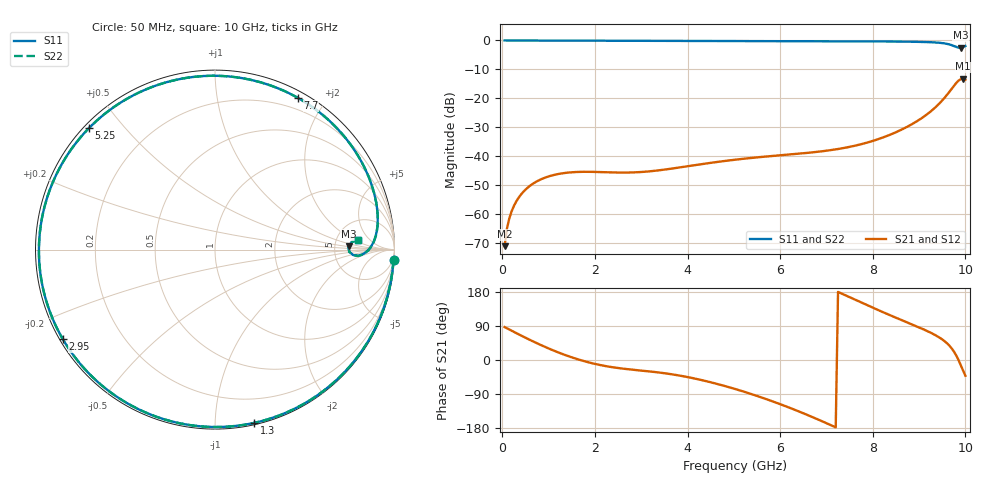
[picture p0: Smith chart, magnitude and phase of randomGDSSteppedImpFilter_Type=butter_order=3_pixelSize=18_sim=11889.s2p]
! freq	dB(S11)	phase(S11)	dB(S12)	phase(S12)
!  dB(S21)	phase(S21)	dB(S22)	phase(S22)
!S-par simulation data
#  GHz  S  DB  R 50
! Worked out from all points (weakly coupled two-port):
!   200 points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, 50 MHz to 10 GHz, reference 50 ohm
!   highest |S21| = -13.25 dB at 9.95 GHz (marker M1); lowest = -70.9 dB at 50 MHz (marker M2)
!   lowest |S11| = -2.6 dB at 9.9 GHz (marker M3), VSWR 6.81, Z = 338 + j28.7 ohm
!   |S11| at or under -10 dB: nowhere
!   |S22| runs from -2.6 to 0.0 dB; largest |S21 - S12| = 0
!   S11 on the Smith chart (normalised r, x): 50 MHz: 2, -35; 1.3 GHz: 0.01, -1.25; 2.95 GHz: 0.01, -0.27; 5.25 GHz: 0.01, +0.40; 7.7 GHz: 0.07, +1.68; 10 GHz: 8.18, +2.45
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0.05  -0.03 -3.3  -70.95 86.8  -70.95 86.8  -0.03 -3.3
0.1  -0.04 -6.4  -64.94 83.7  -64.94 83.7  -0.04 -6.4
0.15  -0.04 -9.5  -61.45 80.5  -61.45 80.5  -0.04 -9.5
0.4  -0.05 -25.2  -53.22 64.9  -53.22 64.9  -0.05 -25.2
0.85  -0.07 -52.3  -47.79 38.5  -47.79 38.5  -0.07 -52.3
1.3  -0.09 -77.3  -45.82 15.7  -45.82 15.7  -0.09 -77.3
1.75  -0.11 -99.8  -45.31 -2.4  -45.31 -2.4  -0.11 -99.8
2.35  -0.13 -126.3  -45.51 -18.5  -45.51 -18.5  -0.13 -126.3
2.95  -0.14 -149.5  -45.43 -27.3  -45.43 -27.3  -0.14 -149.6
3.4  -0.15 -165.5  -44.77 -33.3  -44.77 -33.3  -0.15 -165.5
4.2  -0.18 168.3  -42.91 -50.1  -42.91 -50.1  -0.18 168.2
5.05  -0.21 142.0  -41.09 -77.3  -41.09 -77.3  -0.21 142.0
5.25  -0.22 136.0  -40.74 -84.8  -40.74 -84.8  -0.22 135.9
6  -0.25 113.3  -39.61 -116.5  -39.61 -116.5  -0.25 113.2
6.7  -0.28 92.1  -38.60 -150.8  -38.60 -150.8  -0.28 91.9
7.7  -0.32 61.4  -35.99 154.6  -35.99 154.6  -0.32 61.3
8.35  -0.38 41.4  -32.68 119.4  -32.68 119.4  -0.38 41.3
9.3  -0.68 11.5  -23.83 69.0  -23.83 69.0  -0.68 11.4
9.7  -1.63 -1.6  -16.78 31.3  -16.78 31.3  -1.63 -1.8
9.9  -2.57 1.5  -13.36 -13.3  -13.36 -13.3  -2.56 1.3
9.95  -2.33 3.4  -13.25 -27.7  -13.25 -27.7  -2.32 3.2
10  -1.95 3.9  -13.57 -41.5  -13.57 -41.5  -1.95 3.7
